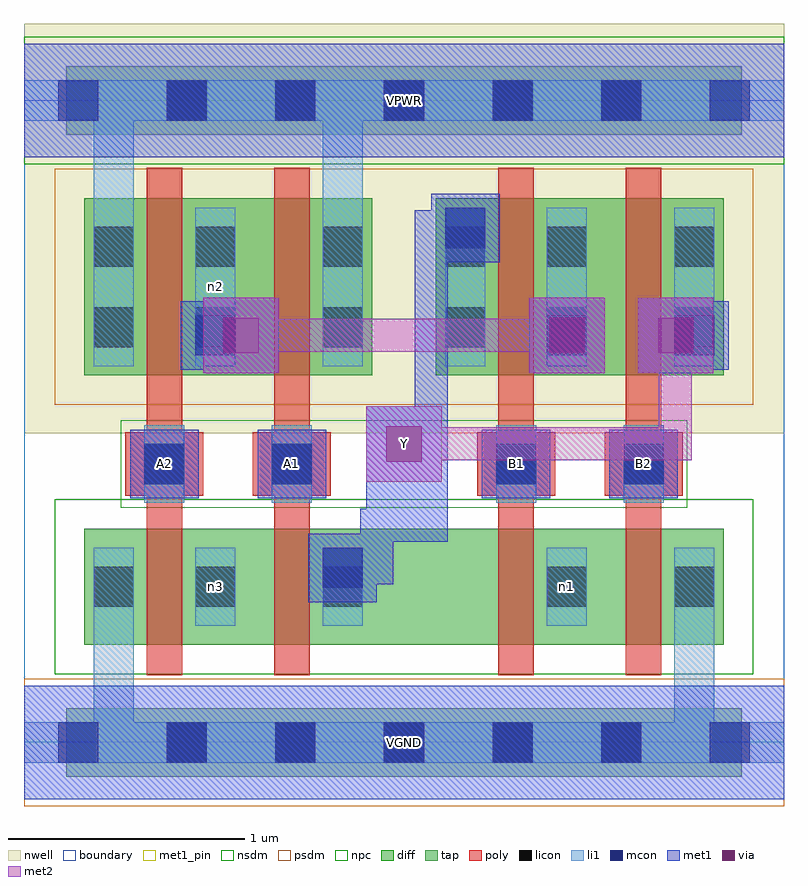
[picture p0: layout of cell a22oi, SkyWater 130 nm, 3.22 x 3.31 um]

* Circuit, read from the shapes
.subckt a22oi A1 A2 B1 B2 VGND VPWR Y n1 n2 n3
XM1 n3 A2 VGND VGND sky130_fd_pr__nfet_01v8 w=0.49 l=0.15
XM2 Y A1 n3 VGND sky130_fd_pr__nfet_01v8 w=0.49 l=0.15
XM3 n1 B1 Y VGND sky130_fd_pr__nfet_01v8 w=0.49 l=0.15
XM4 VGND B2 n1 VGND sky130_fd_pr__nfet_01v8 w=0.49 l=0.15
XM5 n2 A2 VPWR VPWR sky130_fd_pr__pfet_01v8 w=0.75 l=0.15
XM6 VPWR A1 n2 VPWR sky130_fd_pr__pfet_01v8 w=0.75 l=0.15
XM7 n2 B1 Y VPWR sky130_fd_pr__pfet_01v8 w=0.75 l=0.15
XM8 Y B2 n2 VPWR sky130_fd_pr__pfet_01v8 w=0.75 l=0.15
.ends

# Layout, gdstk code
import gdstk
lib = gdstk.Library(unit=1e-6, precision=1e-09)
def R(c, l, rs):  # rectangles x0, y0, x1, y1
    for r in rs: c.add(gdstk.rectangle(r[:2], r[2:], *l))
def A(c, l, x, y, w, h, nx, ny, dx, dy):  # array of equal rectangles
    R(c, l, [(x+i*dx, y+j*dy, x+i*dx+w, y+j*dy+h) for i in range(nx) for j in range(ny)])
nwell = (64, 20)
diff = (65, 20)
tap = (65, 44)
poly = (66, 20)
licon = (66, 44)
li1 = (67, 20)
mcon = (67, 44)
met1_pin = (68, 16)
met1 = (68, 20)
via = (68, 44)
met2 = (69, 20)
nsdm = (93, 44)
psdm = (94, 20)
npc = (95, 20)
boundary = (235, 4)

a22oi = lib.new_cell('a22oi')
R(a22oi, nwell, [(0,1.31,3.22,3.045)])
R(a22oi, diff, [(0.255,0.415,2.965,0.905), (0.255,1.555,1.475,2.305), (1.745,1.555,2.965,2.305)])
R(a22oi, tap, [(0.18,-0.145,3.04,0.145), (0.18,2.575,3.04,2.865)])
R(a22oi, poly, [(0.52,0.285,0.67,2.435), (1.06,0.285,1.21,2.435), (2.01,0.285,2.16,2.435), (2.55,0.285,2.7,2.435), (0.43,1.045,0.76,1.315), (0.97,1.045,1.3,1.315), (1.92,1.045,2.25,1.315), (2.46,1.045,2.79,1.315)])
A(a22oi, licon, 0.605, -0.085, 0.17, 0.17, 5, 2, 0.46, 2.72)
R(a22oi, licon, [(0.295,0.575,0.465,0.745), (0.725,0.575,0.895,0.745), (1.265,0.575,1.435,0.745), (2.215,0.575,2.385,0.745), (2.755,0.575,2.925,0.745), (0.51,1.095,0.68,1.265), (1.05,1.095,1.22,1.265), (2,1.095,2.17,1.265), (2.54,1.095,2.71,1.265), (0.295,1.675,0.465,1.845), (0.725,1.675,0.895,1.845), (1.265,1.675,1.435,1.845), (1.785,1.675,1.955,1.845), (2.215,1.675,2.385,1.845), (2.755,1.675,2.925,1.845), (0.295,2.015,0.465,2.185), (0.725,2.015,0.895,2.185), (1.265,2.015,1.435,2.185), (1.785,2.015,1.955,2.185), (2.215,2.015,2.385,2.185), (2.755,2.015,2.925,2.185)])
R(a22oi, li1, [(0,-0.085,3.22,0.085), (0.295,-0.085,0.465,0.825), (2.755,-0.085,2.925,0.825), (0.295,0.495,0.465,0.825), (0.725,0.495,0.895,0.825), (1.265,0.495,1.435,0.825), (2.215,0.495,2.385,0.825), (2.755,0.495,2.925,0.825), (0.51,1.015,0.68,1.345), (1.05,1.015,1.22,1.345), (2,1.015,2.17,1.345), (2.54,1.015,2.71,1.345), (0.295,1.595,0.465,2.265), (0.295,1.595,0.465,2.805), (0.725,1.595,0.895,2.265), (1.265,1.595,1.435,2.265), (1.265,1.595,1.435,2.805), (1.785,1.595,1.955,2.265), (2.215,1.595,2.385,2.265), (2.755,1.595,2.925,2.265), (0,2.635,3.22,2.805)])
A(a22oi, mcon, 0.145, -0.085, 0.17, 0.17, 7, 2, 0.46, 2.72)
R(a22oi, mcon, [(1.265,0.655,1.435,0.825), (0.51,1.095,0.68,1.265), (1.05,1.095,1.22,1.265), (2,1.095,2.17,1.265), (2.54,1.095,2.71,1.265), (0.725,1.64,0.895,1.81), (2.215,1.64,2.385,1.81), (2.755,1.64,2.925,1.81), (1.785,2.095,1.955,2.265)])
R(a22oi, met1_pin, [(0,-0.24,3.22,0.24), (0.45,1.035,0.74,1.325), (0.99,1.035,1.28,1.325), (1.94,1.035,2.23,1.325), (2.48,1.035,2.77,1.325), (1.45,1.105,1.77,1.425), (0,2.48,3.22,2.96)])
R(a22oi, met1, [(0,-0.24,3.22,0.24), (1.205,0.595,1.495,0.885), (1.28,0.67,1.565,0.81), (1.425,0.67,1.565,0.99), (1.425,0.85,1.795,0.99), (1.655,0.85,1.795,2.255), (1.45,0.99,1.565,1.105), (1.45,0.99,1.77,1.105), (0.45,1.035,0.74,1.325), (0.99,1.035,1.28,1.325), (1.94,1.035,2.23,1.325), (2.48,1.035,2.77,1.325), (1.45,1.105,1.77,1.425), (1.54,1.195,1.795,1.335), (0.76,1.565,1.08,1.885), (2.14,1.565,2.46,1.885), (2.6,1.565,2.92,1.885), (0.665,1.58,0.955,1.87), (2.155,1.58,2.445,1.87), (2.695,1.58,2.985,1.87), (0.74,1.655,0.99,1.795), (2.69,1.655,2.91,1.795), (1.725,2.035,2.015,2.325), (1.655,2.11,1.94,2.25), (1.655,2.11,1.795,2.255), (0,2.48,3.22,2.96)])
R(a22oi, via, [(1.535,1.19,1.685,1.34), (0.845,1.65,0.995,1.8), (2.225,1.65,2.375,1.8), (2.685,1.65,2.835,1.8)])
R(a22oi, met2, [(1.45,1.105,1.77,1.425), (1.54,1.195,2.83,1.335), (2.69,1.195,2.83,1.795), (0.76,1.565,1.08,1.885), (2.14,1.565,2.46,1.885), (2.6,1.565,2.92,1.885), (0.85,1.655,2.37,1.795)])
R(a22oi, nsdm, [(0.13,0.29,3.09,1.03), (0,2.45,3.22,2.99)])
R(a22oi, psdm, [(0,-0.27,3.22,0.27), (0.13,1.43,3.09,2.43)])
R(a22oi, npc, [(0.41,0.995,2.81,1.365)])
R(a22oi, boundary, [(0,0,3.22,2.72)])
a22oi.add(gdstk.Label('n3', (0.81,0.66), layer=67, texttype=5))
a22oi.add(gdstk.Label('n1', (2.3,0.66), layer=67, texttype=5))
a22oi.add(gdstk.Label('n2', (0.81,1.93), layer=67, texttype=5))
a22oi.add(gdstk.Label('A1', (1.135,1.18), layer=68, texttype=5))
a22oi.add(gdstk.Label('A2', (0.595,1.18), layer=68, texttype=5))
a22oi.add(gdstk.Label('B1', (2.085,1.18), layer=68, texttype=5))
a22oi.add(gdstk.Label('B2', (2.625,1.18), layer=68, texttype=5))
a22oi.add(gdstk.Label('Y', (1.61,1.265), layer=68, texttype=5))
a22oi.add(gdstk.Label('VPWR', (1.61,2.72), layer=68, texttype=5))
a22oi.add(gdstk.Label('VGND', (1.61,0), layer=68, texttype=5))
a22oi.add(gdstk.Label('A1', (1.135,1.18), layer=68, texttype=16))
a22oi.add(gdstk.Label('A2', (0.595,1.18), layer=68, texttype=16))
a22oi.add(gdstk.Label('B1', (2.085,1.18), layer=68, texttype=16))
a22oi.add(gdstk.Label('B2', (2.625,1.18), layer=68, texttype=16))
a22oi.add(gdstk.Label('Y', (1.61,1.265), layer=68, texttype=16))
a22oi.add(gdstk.Label('VPWR', (1.61,2.72), layer=68, texttype=16))
a22oi.add(gdstk.Label('VGND', (1.61,0), layer=68, texttype=16))

lib.write_gds('a22oi.gds')
